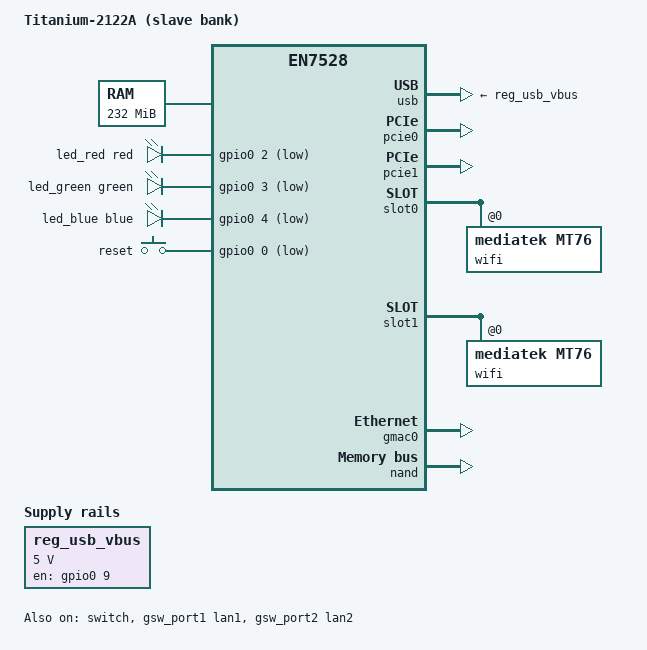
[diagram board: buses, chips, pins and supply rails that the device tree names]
// SPDX-License-Identifier: (GPL-2.0-only OR BSD-2-Clause)
/dts-v1/;

#include "en7528.dtsi"

#include <dt-bindings/gpio/gpio.h>
#include <dt-bindings/input/input.h>
#include <dt-bindings/leds/common.h>

/*
 * Excitel Titanium T2122A — EcoNet/Airoha EN7528, MIPS 1004Kc.
 *
 * Variant that boots OpenWrt from the "tclinux_slave" bank. The stock
 * V1.32EXU firmware stays in the main bank as a fallback; the boot flag byte
 * at 0xdfc0000 picks the bank (0x30 = main, 0x31 = slave).
 *
 * VERIFIED on this unit:
 *   - SoC EN7528 (econet,en7528 subtarget), little-endian 1004Kc
 *   - RAM 256 MB DDR3 (240 MB usable, 0x2000-0x0effffff)
 *   - SPI-NAND FORESEE FS35ND02GS3Y2 (256 MB, ID cd eb 11)
 *   - 2 x Gigabit Ethernet (MT7530 GPHYs at MDIO 9 and 10), 1 x POTS/FXS
 *   - Wi-Fi MediaTek MT7663 + MT7603 -> mt76 (mt7615e + mt7603)
 *   - Flash partition offsets: bootloader@0, romfile@0x40000,
 *     tclinux@0x80000 (0x1900000), tclinux_slave@0x1980000 (0x1900000),
 *     opt0@0x3280000, opt1@0x3a80000, ubifs@0x4280000,
 *     reservearea@0xddc0000 (0x240000) <- boot flag at +0x200000
 *   - LEDs on GPIO 2/3/4 (red/green/blue), reset button on GPIO 0.
 *     There is no WPS button on this model.
 *
 * UNVERIFIED:
 *   - Wi-Fi precal/EEPROM offsets inside reservearea (0x40000 / 0x1c0000)
 *   - usb vbus GPIO
 */

/ {
	model = "Titanium-2122A (slave bank)";
	compatible = "titanium,t2122a", "econet,en7528";

	aliases {
		led-boot = &led_green;
		led-failsafe = &led_red;
		led-running = &led_green;
		led-upgrade = &led_blue;
		serial0 = &uart;
	};

	memory@0 {
		device_type = "memory";
		/* 256 MB DDR3. The bootloader reports 240 MB usable
		 * (0x2000-0x0effffff); keep the top 8 MB reserved as shipped. */
		reg = <0x00000000 0x0e800000>;
	};

	chosen {
		stdout-path = "serial0:115200n8";
		linux,usable-memory-range = <0x00020000 0x0e7e0000>;
		/* Attach UBI on the spare "opt0" partition. Its rootfs_data
		 * volume is pre-formatted with UBIFS (this kernel has no JFFS2),
		 * so fstools mounts it as the persistent /overlay. opt0 is
		 * untouched by the stock firmware, so the overlay survives bank
		 * switches to stock and back. */
		bootargs = "ubi.mtd=opt0";
	};

	/*
	 * Single tri-colour system/status LED on GPIO 2/3/4 (red/green/blue).
	 * Source: stock /userfs/led.conf (tabular led_no/gpio/mode, read by
	 * tcledctrl.ko), cross-checked via ledctl1 (led_no 78/79/80 ->
	 * gpio 2/3/4). VERIFIED on hardware: driving red lit the panel LED solid
	 * red and green is the default power LED -> GPIO map + ACTIVE_LOW polarity
	 * confirmed. The RJ45 link/activity LEDs of the two GE jacks are driven
	 * by the MT7530 switch/PHY in hardware (a linked port lights with no SoC
	 * GPIO involved), so they are intentionally NOT gpio-leds. led.conf's
	 * LANPORT GPIOs (31/33/35/37 status, 30/32/34/36 act) drive no visible
	 * front-panel LED on this board and were dropped after on-HW testing.
	 */
	leds {
		compatible = "gpio-leds";

		led_red: red {
			color = <LED_COLOR_ID_RED>;
			function = LED_FUNCTION_STATUS;
			gpios = <&gpio0 2 GPIO_ACTIVE_LOW>;
		};

		led_green: green {
			color = <LED_COLOR_ID_GREEN>;
			function = LED_FUNCTION_POWER;
			gpios = <&gpio0 3 GPIO_ACTIVE_LOW>;
		};

		led_blue: blue {
			color = <LED_COLOR_ID_BLUE>;
			function = LED_FUNCTION_WAN;
			gpios = <&gpio0 4 GPIO_ACTIVE_LOW>;
		};
	};

	/* Reset button only; this model has no WPS button. GPIO 1 reads low
	 * on the stock board and must not be claimed as a key. */
	keys {
		compatible = "gpio-keys-polled";
		poll-interval = <100>;

		key-reset {
			label = "reset";
			gpios = <&gpio0 0 GPIO_ACTIVE_LOW>;
			linux,code = <KEY_RESTART>;
		};
	};

	reg_usb_vbus: regulator-usb-vbus {
		compatible = "regulator-fixed";
		regulator-name = "usb-vbus";
		regulator-min-microvolt = <5000000>;
		regulator-max-microvolt = <5000000>;
		gpios = <&gpio0 9 GPIO_ACTIVE_HIGH>;	/* UNVERIFIED */
		enable-active-high;
	};
};

&usb {
	status = "okay";
	vbus-supply = <&reg_usb_vbus>;
};

&pcie0 {
	status = "okay";
};

&pcie1 {
	status = "okay";
};

/* Wi-Fi MT7663 (VERIFIED chip); MAC/precal nvmem offsets inherited — UNVERIFIED */
&slot0 {
	status = "okay";

	wifi@0,0 {
		compatible = "mediatek,mt76";
		reg = <0x0000 0 0 0 0>;
		nvmem-cells = <&macaddr_boot 8>, <&eeprom_reservearea_1c0000>;
		nvmem-cell-names = "mac-address", "eeprom";
		ieee80211-freq-limit = <2400000 2500000>;
	};
};

&slot1 {
	status = "okay";

	wifi@0,0 {
		compatible = "mediatek,mt76";
		reg = <0x0000 0 0 0 0>;
		nvmem-cells = <&macaddr_boot 9>, <&eeprom_reservearea_40000>;
		nvmem-cell-names = "mac-address", "eeprom";
		ieee80211-freq-limit = <5000000 6000000>;
	};
};

&gmac0 {
	status = "okay";
	nvmem-cells = <&macaddr_boot 7>;
	nvmem-cell-names = "mac-address";
};

/*
 * MT7530 DSA switch. The shared en7528.dtsi shrinks the frame-engine
 * register window so econet-eth no longer sets up the dumb switch; the
 * on-die MT7530 must be driven by the mt7530 DSA driver instead, or the
 * board has no LAN.
 *
 * This model has exactly two GE jacks: LAN1 = switch port 1 (PHY 9) and
 * LAN2 = switch port 2 (PHY 10). Switch ports 3/4 have no magnetics and
 * their PHYs are left disabled.
 */
&switch {
	status = "okay";
};

&gsw_port1 {
	status = "okay";
	label = "lan1";
};

&gsw_port2 {
	status = "okay";
	label = "lan2";
};

/* The two on-die GPHYs are MT7530-integrated 1GbE PHYs (ID 03a2:9491).
 * Declaring the ID keeps the PHY devices usable even if the first MDIO
 * access after the switch PHY reset races the PHY boot (the mt7530 driver
 * also waits for the PHYs to settle before scanning the bus). */
&gsw_phy1 {
	compatible = "ethernet-phy-id03a2.9491", "ethernet-phy-ieee802.3-c22";
};

&gsw_phy2 {
	compatible = "ethernet-phy-id03a2.9491", "ethernet-phy-ieee802.3-c22";
};

&gsw_phy3 {
	status = "disabled";
};

&gsw_phy4 {
	status = "disabled";
};

/* --- Flash layout for Titanium-2122A (128 MB SPI-NAND, verified from /proc/mtd) --- */
&nand {
	status = "okay";
	econet,bmt;
	econet,bbt-table-size = <250>;

	partitions: partitions {
		compatible = "fixed-partitions";
		#address-cells = <1>;
		#size-cells = <1>;

		partition@0 {
			label = "bootloader";
			reg = <0x0 0x40000>;
			read-only;
			/* MAC base location verified at 0x3fe48 in an mtd0 backup. */
			nvmem-layout {
				compatible = "fixed-layout";
				#address-cells = <1>;
				#size-cells = <1>;

				macaddr_boot: macaddr@3fe48 {
					compatible = "mac-base";
					reg = <0x3fe48 0x6>;
					#nvmem-cell-cells = <1>;
				};
			};
		};

		partition@40000 {
			label = "romfile";
			reg = <0x40000 0x40000>;
		};

		partition@80000 {
			label = "tclinux";
			reg = <0x80000 0x1900000>;
			econet,enable-remap;
		};

		/* main-bank squashfs area (unused when booting the slave bank) */
		partition@480000 {
			label = "rootfs_main";
			reg = <0x480000 0x1500000>;
		};

		partition@1980000 {
			label = "tclinux_slave";
			reg = <0x1980000 0x1900000>;
			econet,enable-remap;
		};

		/* squashfs starts at 0x1980000+0x400000 (kernel padded to 4 MB) */
		partition@1d80000 {
			label = "rootfs";
			reg = <0x1d80000 0x1500000>;
			linux,rootfs;
		};

		partition@3280000 {
			label = "opt0";
			reg = <0x3280000 0x800000>;
		};

		partition@3a80000 {
			label = "opt1";
			reg = <0x3a80000 0x800000>;
		};

		partition@4280000 {
			label = "ubifs";
			reg = <0x4280000 0x1000000>;
		};

		/* Boot flag byte at 0xddc0000 + 0x200000 selects the bank.
		 * reservearea is the last 0x240000 bytes of the 256 MB flash,
		 * exactly as on the DASAN/JCOW407 reference. */
		partition@ddc0000 {
			label = "reservearea";
			reg = <0xddc0000 0x240000>;
			nvmem-layout {
				compatible = "fixed-layout";
				#address-cells = <1>;
				#size-cells = <1>;

				eeprom_reservearea_40000: eeprom@40000 {
					reg = <0x40000 0x4da8>;
				};

				eeprom_reservearea_1c0000: eeprom@1c0000 {
					reg = <0x1c0000 0x400>;
				};
			};
		};
	};
};
